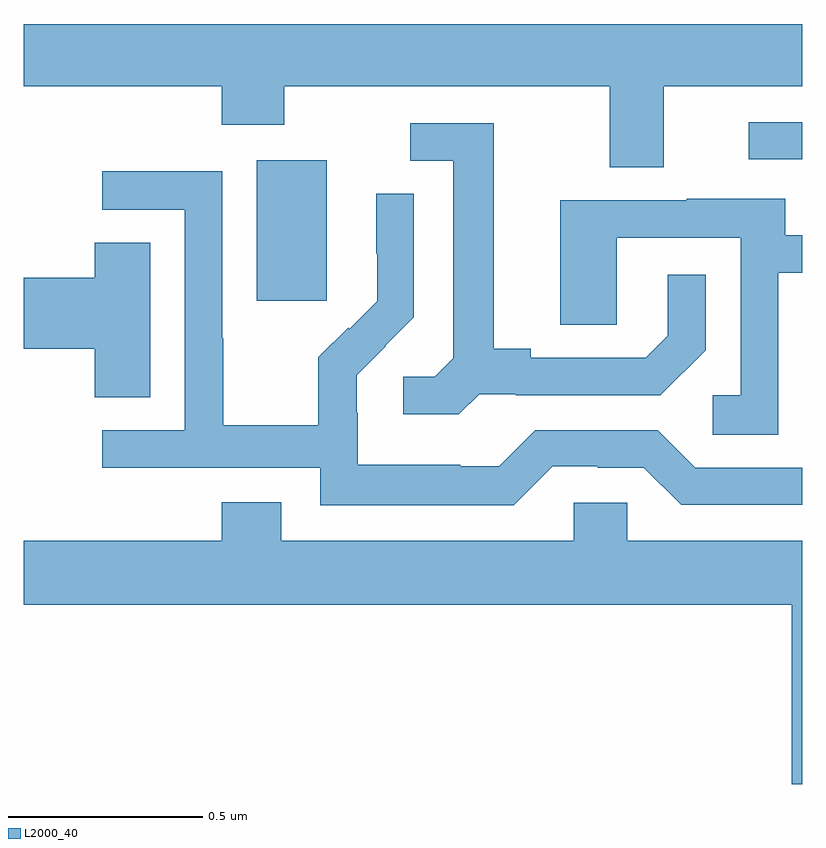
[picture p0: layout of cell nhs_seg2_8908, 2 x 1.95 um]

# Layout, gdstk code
import gdstk
lib = gdstk.Library(unit=1e-6, precision=1e-09)
def R(c, l, rs):  # rectangles x0, y0, x1, y1
    for r in rs: c.add(gdstk.rectangle(r[:2], r[2:], *l))
def P(c, l, *ps):  # polygons
    for p in ps: c.add(gdstk.Polygon(p, *l))
L2000_40 = (2000, 40)

nhs_seg2_8908 = lib.new_cell('nhs_seg2_8908')
R(nhs_seg2_8908, L2000_40, [(222.599,643.089,222.778,643.45), (223.863,643.452,224,643.548)])
P(nhs_seg2_8908, L2000_40, [(223.645,643.64),(224,643.64),(224,643.8),(222,643.8),(222,643.64),(222.509,643.64),(222.509,643.541),(222.669,643.541),(222.669,643.64),(223.505,643.64),(223.505,643.432),(223.645,643.432)],
  [(223.17,642.849),(223.264,642.849),(223.264,642.846),(223.636,642.846),(223.752,642.962),(223.752,643.156),(223.655,643.156),(223.655,642.999),(223.598,642.942),(223.303,642.942),(223.303,642.965),(223.207,642.965),(223.207,643.545),(222.993,643.545),(222.993,643.449),(223.103,643.449),(223.103,642.941),(223.056,642.894),(222.975,642.894),(222.975,642.797),(223.118,642.797)],
  [(223.359,642.663),(223.475,642.663),(223.475,642.66),(223.593,642.66),(223.689,642.564),(224,642.564),(224,642.66),(223.725,642.66),(223.629,642.756),(223.314,642.756),(223.221,642.663),(223.121,642.663),(223.121,642.667),(222.858,642.667),(222.858,642.801),(222.856,642.801),(222.856,642.898),(222.93,642.972),(222.929,642.973),(223.002,643.046),(223.002,643.364),(222.906,643.364),(222.906,643.21),(222.908,643.21),(222.908,643.088),(222.837,643.017),(222.834,643.02),(222.757,642.943),(222.757,642.769),(222.513,642.769),(222.513,642.992),(222.51,642.992),(222.51,643.422),(222.201,643.422),(222.201,643.323),(222.414,643.323),(222.414,642.756),(222.201,642.756),(222.201,642.66),(222.762,642.66),(222.762,642.563),(223.259,642.563)],
  [(223.938,643.161),(224,643.161),(224,643.257),(223.957,643.257),(223.957,643.351),(223.703,643.351),(223.703,643.347),(223.379,643.347),(223.379,643.027),(223.524,643.027),(223.524,643.251),(223.842,643.251),(223.842,642.846),(223.77,642.846),(223.77,642.745),(223.938,642.745)],
  [(222.325,643.238),(222.182,643.238),(222.182,643.148),(222,643.148),(222,642.965),(222.182,642.965),(222.182,642.841),(222.325,642.841)],
  [(224,642.472),(223.551,642.472),(223.551,642.57),(223.413,642.57),(223.413,642.472),(222.661,642.472),(222.661,642.571),(222.509,642.571),(222.509,642.472),(222,642.472),(222,642.308),(223.973,642.308),(223.973,641.847),(224,641.847)])

lib.write_gds('nhs_seg2_8908.gds')
